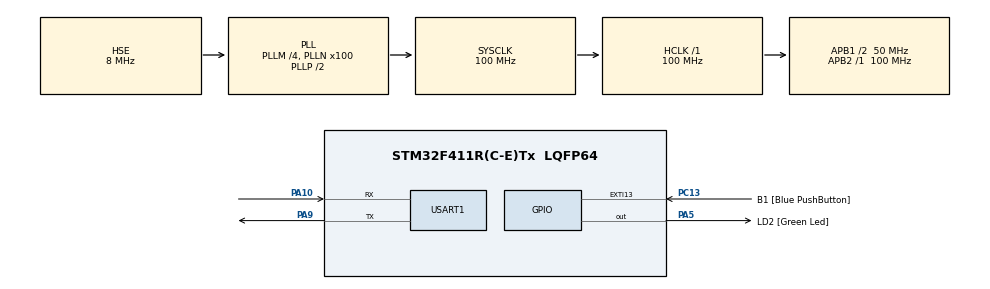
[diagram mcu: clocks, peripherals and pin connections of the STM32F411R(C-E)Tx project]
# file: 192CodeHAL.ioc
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Mcu.Family=STM32F4
Mcu.Name=STM32F411R(C-E)Tx
Mcu.Package=LQFP64
NVIC.PriorityGroup=NVIC_PRIORITYGROUP_0
NVIC.USART1_IRQn=true\:0\:0\:false\:false\:true\:true\:true\:true
PA10.Mode=Asynchronous
PA10.Signal=USART1_RX
PA13.GPIO_Label=TMS
PA13.Mode=Serial_Wire
PA13.Signal=SYS_JTMS-SWDIO
PA14.GPIO_Label=TCK
PA14.Mode=Serial_Wire
PA14.Signal=SYS_JTCK-SWCLK
PA2.GPIO_Label=USART_TX
PA2.Signal=USART2_TX
PA3.GPIO_Label=USART_RX
PA3.Signal=USART2_RX
PA5.GPIO_Label=LD2 [Green Led]
PA5.Signal=GPIO_Output
PA9.Mode=Asynchronous
PA9.Signal=USART1_TX
PB3.GPIO_Label=SWO
PB3.Signal=SYS_JTDO-SWO
PB8.Signal=I2C1_SCL
PB9.Signal=I2C1_SDA
PC13-ANTI_TAMP.GPIO_Label=B1 [Blue PushButton]
PC13-ANTI_TAMP.GPIO_ModeDefaultEXTI=GPIO_MODE_IT_FALLING
PC13-ANTI_TAMP.Signal=GPXTI13
PC14-OSC32_IN.Mode=LSE-External-Oscillator
PC14-OSC32_IN.Signal=RCC_OSC32_IN
PC15-OSC32_OUT.Mode=LSE-External-Oscillator
PC15-OSC32_OUT.Signal=RCC_OSC32_OUT
PH0\ -\ OSC_IN.Mode=HSE-External-Clock-Source
PH0\ -\ OSC_IN.Signal=RCC_OSC_IN
PH1\ -\ OSC_OUT.Mode=HSE-External-Clock-Source
PH1\ -\ OSC_OUT.Signal=RCC_OSC_OUT
ProjectManager.HeapSize=0x200
ProjectManager.StackSize=0x400
ProjectManager.TargetToolchain=STM32CubeIDE
RCC.48MHZClocksFreq_Value=50000000
RCC.AHBFreq_Value=100000000
RCC.APB1CLKDivider=RCC_HCLK_DIV2
RCC.APB1Freq_Value=50000000
RCC.APB1TimFreq_Value=100000000
RCC.APB2Freq_Value=100000000
RCC.APB2TimFreq_Value=100000000
RCC.CortexFreq_Value=100000000
RCC.FLatency-AdvancedSettings=FLASH_LATENCY_3
RCC.HCLKFreq_Value=100000000
RCC.HSE_VALUE=8000000
RCC.HSI_VALUE=16000000
RCC.PLLM=4
RCC.PLLN=100
RCC.PLLSourceVirtual=RCC_PLLSOURCE_HSE
RCC.SYSCLKFreq_VALUE=100000000
RCC.SYSCLKSource=RCC_SYSCLKSOURCE_PLLCLK
RCC.VCOOutputFreq_Value=200000000
USART1.VirtualMode=VM_ASYNC
board=NUCLEO-F411RE

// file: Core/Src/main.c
/* USER CODE BEGIN Header */
/**
  ******************************************************************************
  * @file           : main.c
  * @brief          : Main program body
  ******************************************************************************
  * @attention
  *
  * Copyright (c) 2023 STMicroelectronics.
  * All rights reserved.
  *
  * This software is licensed under terms that can be found in the LICENSE file
  * in the root directory of this software component.
  * If no LICENSE file comes with this software, it is provided AS-IS.
  *
  ******************************************************************************
  */
/* USER CODE END Header */

#include <ESP8266_Code.h>
#include "main.h"

/* USER CODE BEGIN Includes */
#include "stm32f4xx.h"
#include "math.h"
#include <stdint.h>
#include <stdio.h>
#include <string.h>
#include <time.h>
/* USER CODE END Includes */

UART_HandleTypeDef huart1;

/* USER CODE BEGIN PV */
float temp, humid;
float buf_data[6];
//HAL_StatusTypeDef status;
//#define LED_ONOFF(); GPIOC->ODR ^= GPIO_PIN_13;
#define AM2320_ADDRESS	0xB8
unsigned int tick;
volatile unsigned int auto_recon=60000;

char *am_pm;
float tempF;
float direct_fan=0.0;					//0- off, 1- direct, 2- oscillating
float ceiling_fan=0.0;					//0- off, 1- CW (Circulate warm air), 2- CC (Pushes cool air down)
float humidity_tray=0.0;				//0- off, 1- drain water, 2- pump water
float moisture_absorber_tray=0.0;		//0- close, 1- open; silica gel?, rock salt?, calcium chloride?
/* USER CODE END PV */

void SystemClock_Config(void);
static void MX_GPIO_Init(void);
static void MX_USART1_UART_Init(void);

/* USER CODE BEGIN 0 */
//Notes
/*
STM32F4 AM2320 No HAL (Hardware Abstraction Layer)
1. Configure GPIO Pins- connect AM2320 pins
2. I2C Init (Config)- speed, addressing mode, ack...
3. I2C Start Condition-
	-pull SDA low, SCL high
4. Send I2C Device Address- of AM2320, write bit- 0
	-0xB8 for write, followed by write bit, wait for ack?
5. Send I2C Register Address- from where you want to read the data (e.g. temp and humid... datasheet)
	-0x03, wait for ack
6. I2C Stop-
7. Delay- datasheet
8. I2C Start-
9. I2C Device Address- 1- read bit
	-0xB9 for read, read bit
10. Read Data- datasheet- register structure and data format
	-Receive data bytes from sensor
	-Generate ACK- more bytes are expected
	-NACK- last byte
	-Repeat ACK/NACK for each byte
11. I2C Stop-
	-by releasing SDA line while SCL is high
12. Process Data- accd. sensor's data format and ur application
*/

/*
AM2320 Specs
*5V, 4.7k for SCL and SDA, 5V-SDA-GND-SCL
*I2C bus mode, 2s per read, max 3s total comms
*1byte, function codes 1-127, output- 16bits (bit15 is sign)
*/

/*
I2C_Config
1. Enable the I2C CLOCK and GPIO CLOCK
2. Configure the I2C PINs for ALternate Functions
	a) Select Alternate Function in MODER Register
	b) Select Open Drain Output
	c) Select High SPEED for the PINs
	d) Select Pull-up for both the Pins
	e) Configure the Alternate Function in AFR Register
3. Reset the I2C
4. Program the peripheral input clock in I2C_CR2 Register in order to generate correct timings
5. Configure the clock control registers
6. Configure the rise time register
7. Program the I2C_CR1 register to enable the peripheral
*/

//Inits
void GPIO_Config(void) {
	RCC->AHB1ENR |= (1<<1);			//GPIOB Clock Enable

	GPIOB->MODER &= ~(1<<16);		//Alternate Function Mode- 10
	GPIOB->MODER |= (1<<17);
	GPIOB->MODER &= ~(1<<18);
	GPIOB->MODER |= (1<<19);

	GPIOB->OTYPER |= (1<<8);		//Output Open-drain- 1
	GPIOB->OTYPER |= (1<<9);

	GPIOB->OSPEEDR |= (1<<16);		//High Speed- 11, 50Mhz?
	GPIOB->OSPEEDR |= (1<<17);
	GPIOB->OSPEEDR |= (1<<18);
	GPIOB->OSPEEDR |= (1<<19);

	GPIOB->PUPDR &= ~(1<<16);		//Pull-up- 01, No Pull- 00?
	GPIOB->PUPDR &= ~(1<<17);
	GPIOB->PUPDR &= ~(1<<18);
	GPIOB->PUPDR &= ~(1<<19);

	GPIOB->AFR[1] &= ~(1<<0);		//AF6- 0110
	GPIOB->AFR[1] &= ~(1<<1);		//Wrong ung una, AF4- 0100 (for I2C1)
	GPIOB->AFR[1] |= (1<<2);
	GPIOB->AFR[1] &= ~(1<<3);

	GPIOB->AFR[1] &= ~(1<<4);		//AF7- 0111
	GPIOB->AFR[1] &= ~(1<<5);
	GPIOB->AFR[1] |= (1<<6);
	GPIOB->AFR[1] &= ~(1<<7);
}

void I2C_Config(void) {
	RCC->APB1ENR |= (1<<21);		//I2C Clock Enable

	RCC->APB1RSTR |= RCC_APB1RSTR_I2C1RST;
	RCC->APB1RSTR &= ~RCC_APB1RSTR_I2C1RST;
	I2C1->CR1 |= (1<<15);			//Reset- for errors or locked states
	I2C1->CR1 &= ~(1<<15);

	I2C1->CR2 |= (50<<0);			//50MHz, 100kHz; used 8MHz as APB1 PCLK; 8

	I2C1->CCR &= ~(1<<15);			//SM																																																																																																											+	`, PCLK- 8MHz? (>=2MHz for SM)
	I2C1->CCR &= ~(1<<14);			//Since not FM
	I2C1->CCR |= (250<<0);			//250, High, computation on CtrlsTech; 40

	I2C1->TRISE |= (51<<0);			//50+1, "; 9

	//Configure I2C1 addr mode, dual addr mode, gen call mode, own addr
	I2C1->CR1 &= ~(1<<0);			//Disable I2C1
	I2C1->OAR1 &= ~(1<<15);
	I2C1->OAR1 |= (1<<15);			//7-bit addr mode
	I2C1->OAR2 &= (1<<0);
	I2C1->CR1 &= ~(I2C_CR1_ENGC | I2C_CR1_NOSTRETCH);

//	I2C1->OAR1 &= ~(I2C_OAR1_ADDMODE | I2C_OAR1_OA1EN);
//	I2C1->OAR1 |= I2C_OAR1_ADDMODE_7BIT;
//	I2C1->OAR2 &= ~I2C_OAR2_OA2EN;
//	I2C1->CR1 &= ~(I2C_CR1_GCEN | I2C_CR1_NOSTETCH);

	I2C1->CR1 |= (1<<10);			//ACK Enable
	I2C1->CR1 |= (1<<0);			//Peripheral Enable
}

//Functions
void I2C_Start(void) {
	I2C1->CR1 |= (1<<8);				//Start- repeated
	while (!(I2C1->SR1 & (1<<0)));		//Wait for SB bit to set (1)
}

void I2C_Stop(void) {
	I2C1->CR1 |= (1<<9);				//Stop I2C
}

void I2C_Write(uint8_t data) {
	I2C1->DR = data;
	while (!(I2C1->SR1 & (1<<7)));		//Wait for TXE but to set, BTF?
}

void I2C_Wake(void) {
	I2C_Start();

	(void) I2C1->SR1;
	I2C1->DR = AM2320_ADDRESS;
	HAL_Delay(1);

	I2C_Stop();
}

void start_sequence(uint8_t dir) {
	I2C_Start();

	(void) I2C1->SR1;								//Addr
	I2C1->DR = dir == 0? AM2320_ADDRESS : (AM2320_ADDRESS + 1);

	while (!(I2C1->SR1 & (1<<1)));					//Wait for ADDR bit to set
	(void) I2C1->SR1;								//For SB?
	(void) I2C1->SR2;								//For ADDR?
}

unsigned int crc16(uint8_t *ptr, uint8_t len) {		//Based on datasheet
	unsigned int crc = 0xFFFF;
	uint8_t i;

	while(len--) {
		crc ^= *ptr++;
		for(i=0; i<8; i++) {
			if(crc & 0x01) {
				crc >>= 1;
				crc ^= 0xA001;
			}
			else {
				crc >>= 1;
			}
		}
	}

	return crc;
}

void AM2320_ReadData(void) {				//*t, *h
	uint8_t i;
	uint8_t buf[8];
	//uint8_t data_t[3];

	I2C_Wake();

	//Send Read Command
	start_sequence(0);						//TX
	I2C_Write(0x03);
	I2C_Write(0x00);
	I2C_Write(0x04);
	I2C_Stop();
	HAL_Delay(1);

	//Read Data
	start_sequence(1);						//RX
	for(i=0;i<8;i++) {
		while (!(I2C1->SR1 & (1<<6)));		//Wait for RXNE bit to set
		buf[i] = I2C1->DR;
	}
	I2C_Stop();

	//CRC Check
//	data_t[0] = 0x03;
//	data_t[1] = 0x00;
//	data_t[2] = 0x04;
//
//	HAL_I2C_IsDeviceReady(&hi2c1, 0xB8, 2, 1);
//	HAL_I2C_Master_Transmit(&hi2c1, 0xB8, data_t, 3, 1);
//	HAL_I2C_Master_Receive(&hi2c1, 0xB9, buf, 8, 2);

	unsigned int Rcrc = buf[7] << 8;
	Rcrc += buf[6];
	if (Rcrc == crc16(buf, 6)) {
		unsigned int temperature = ((buf[4] & 0x7F) << 8) + buf[5];
		temp = temperature / 10.0;
		temp = (((buf[4] & 0x80) >> 7) == 1) ? ((temp) * (-1)) : temp;
		unsigned int humidity = (buf[2] << 8) + buf[3];
		humid = humidity / 10.0;
		//return 0;
	}
	//return 2;
}
/* USER CODE END 0 */

int main(void)
{

  /* MCU Configuration--------------------------------------------------------*/
  /* Reset of all peripherals, Initializes the Flash interface and the Systick. */
  HAL_Init();

  /* Configure the system clock */
  SystemClock_Config();

  /* Initialize all configured peripherals */
  MX_GPIO_Init();
  MX_USART1_UART_Init();

  /* USER CODE BEGIN 2 */
  GPIO_Config();
  I2C_Config();
  ESP_Init("EEE192-320", "EEE192_Room320");			//"JEDEDCHICKEN", "ChickenZ"; "HABIBI", "HABIBIBI";
  I2C1->CR1 |= I2C_CR1_ACK;		//ACK Enable
  /* USER CODE END 2 */

  /* Infinite loop */
  /* USER CODE BEGIN WHILE */
  while (1)
  {
	auto_recon = HAL_GetTick() + 60000;

	//LED_ONOFF();
	AM2320_ReadData();

	//Virtual Actuators
	//Fan system- 1 direct fan, 1 ceiling fan
	//Golden Pothos / "Epipremnum aureum" Requirements- T=2 (65degF night, 75degF day), H=2 (25%-49%), W=2 (Soil surface must be dry before re-watering)
	//1hr sensor data gathering...
	//Time
	time_t current_time = time(NULL);
	struct tm *local_time = localtime(&current_time);
	int hour = local_time->tm_hour;
	am_pm = (hour < 12) ? "AM" : "PM";

	//C-F conversion
	tempF = ((9.0/5) * temp) + 32.0;

	//
	if (strcmp(am_pm, "AM") == 0) {		//If equal
		if (tempF < 75.0) {
			direct_fan=0.0;				//Off
			ceiling_fan=1.0;			//CW
		}
		else if (tempF > 75.0) {
			direct_fan=1.0;				//Direct
			ceiling_fan=2.0;			//CC
		}
	}
	else {
		if (tempF < 65.0) {
			direct_fan=0.0;
			ceiling_fan=1.0;
		}
		else if (tempF > 65.0) {
			direct_fan=1.0;
			ceiling_fan=2.0;
		}
	}

	//Water system
	if (humid < 25.0) {
		humidity_tray=2.0;				//Pump
		moisture_absorber_tray=0.0;		//Close
	}
	else if (humid > 49.0) {
		humidity_tray=1.0;				//Drain
		moisture_absorber_tray=1.0;		//Open
	}

	//
	buf_data[0] = temp;
	buf_data[1] = humid;
	buf_data[2] = direct_fan;
	buf_data[3] = ceiling_fan;
	buf_data[4] = humidity_tray;
	buf_data[5] = moisture_absorber_tray;
	ESP_Send_Multi("F7VIFLRMML37ATTC", 6, buf_data);
	HAL_Delay(15001);										//Must be >=15s delay
    /* USER CODE END WHILE */

  }
}

void SystemClock_Config(void)
{
  RCC_OscInitTypeDef RCC_OscInitStruct = {0};
  RCC_ClkInitTypeDef RCC_ClkInitStruct = {0};

  /** Configure the main internal regulator output voltage
  */
  __HAL_RCC_PWR_CLK_ENABLE();
  __HAL_PWR_VOLTAGESCALING_CONFIG(PWR_REGULATOR_VOLTAGE_SCALE1);

  /** Initializes the RCC Oscillators according to the specified parameters
  * in the RCC_OscInitTypeDef structure.
  */
  RCC_OscInitStruct.OscillatorType = RCC_OSCILLATORTYPE_HSE;
  RCC_OscInitStruct.HSEState = RCC_HSE_BYPASS;
  RCC_OscInitStruct.PLL.PLLState = RCC_PLL_ON;
  RCC_OscInitStruct.PLL.PLLSource = RCC_PLLSOURCE_HSE;
  RCC_OscInitStruct.PLL.PLLM = 4;
  RCC_OscInitStruct.PLL.PLLN = 100;
  RCC_OscInitStruct.PLL.PLLP = RCC_PLLP_DIV2;
  RCC_OscInitStruct.PLL.PLLQ = 4;
  if (HAL_RCC_OscConfig(&RCC_OscInitStruct) != HAL_OK)
  {
    Error_Handler();
  }

  /** Initializes the CPU, AHB and APB buses clocks
  */
  RCC_ClkInitStruct.ClockType = RCC_CLOCKTYPE_HCLK|RCC_CLOCKTYPE_SYSCLK
                              |RCC_CLOCKTYPE_PCLK1|RCC_CLOCKTYPE_PCLK2;
  RCC_ClkInitStruct.SYSCLKSource = RCC_SYSCLKSOURCE_PLLCLK;
  RCC_ClkInitStruct.AHBCLKDivider = RCC_SYSCLK_DIV1;
  RCC_ClkInitStruct.APB1CLKDivider = RCC_HCLK_DIV2;
  RCC_ClkInitStruct.APB2CLKDivider = RCC_HCLK_DIV1;

  if (HAL_RCC_ClockConfig(&RCC_ClkInitStruct, FLASH_LATENCY_3) != HAL_OK)
  {
    Error_Handler();
  }
}

static void MX_USART1_UART_Init(void)
{

  huart1.Instance = USART1;
  huart1.Init.BaudRate = 115200;
  huart1.Init.WordLength = UART_WORDLENGTH_8B;
  huart1.Init.StopBits = UART_STOPBITS_1;
  huart1.Init.Parity = UART_PARITY_NONE;
  huart1.Init.Mode = UART_MODE_TX_RX;
  huart1.Init.HwFlowCtl = UART_HWCONTROL_NONE;
  huart1.Init.OverSampling = UART_OVERSAMPLING_16;
  if (HAL_UART_Init(&huart1) != HAL_OK)
  {
    Error_Handler();
  }

}

static void MX_GPIO_Init(void)
{
  GPIO_InitTypeDef GPIO_InitStruct = {0};

  /* GPIO Ports Clock Enable */
  __HAL_RCC_GPIOC_CLK_ENABLE();
  __HAL_RCC_GPIOH_CLK_ENABLE();
  __HAL_RCC_GPIOA_CLK_ENABLE();
  __HAL_RCC_GPIOB_CLK_ENABLE();

  /*Configure GPIO pin Output Level */
  HAL_GPIO_WritePin(LD2_GPIO_Port, LD2_Pin, GPIO_PIN_RESET);

  /*Configure GPIO pin : B1_Pin */
  GPIO_InitStruct.Pin = B1_Pin;
  GPIO_InitStruct.Mode = GPIO_MODE_IT_FALLING;
  GPIO_InitStruct.Pull = GPIO_NOPULL;
  HAL_GPIO_Init(B1_GPIO_Port, &GPIO_InitStruct);

  /*Configure GPIO pins : USART_TX_Pin USART_RX_Pin */
  GPIO_InitStruct.Pin = USART_TX_Pin|USART_RX_Pin;
  GPIO_InitStruct.Mode = GPIO_MODE_AF_PP;
  GPIO_InitStruct.Pull = GPIO_NOPULL;
  GPIO_InitStruct.Speed = GPIO_SPEED_FREQ_VERY_HIGH;
  GPIO_InitStruct.Alternate = GPIO_AF7_USART2;
  HAL_GPIO_Init(GPIOA, &GPIO_InitStruct);

  /*Configure GPIO pin : LD2_Pin */
  GPIO_InitStruct.Pin = LD2_Pin;
  GPIO_InitStruct.Mode = GPIO_MODE_OUTPUT_PP;
  GPIO_InitStruct.Pull = GPIO_NOPULL;
  GPIO_InitStruct.Speed = GPIO_SPEED_FREQ_LOW;
  HAL_GPIO_Init(LD2_GPIO_Port, &GPIO_InitStruct);

  /*Configure GPIO pins : PB8 PB9 */
  GPIO_InitStruct.Pin = GPIO_PIN_8|GPIO_PIN_9;
  GPIO_InitStruct.Mode = GPIO_MODE_AF_OD;
  GPIO_InitStruct.Pull = GPIO_NOPULL;
  GPIO_InitStruct.Speed = GPIO_SPEED_FREQ_VERY_HIGH;
  GPIO_InitStruct.Alternate = GPIO_AF4_I2C1;
  HAL_GPIO_Init(GPIOB, &GPIO_InitStruct);

}

void Error_Handler(void)
{
  __disable_irq();
  while (1)
  {
  }
}

void SysTick_Handler(void)
{
	tick = HAL_GetTick();
	if (tick > auto_recon) { NVIC_SystemReset(); }

	HAL_IncTick();
}
